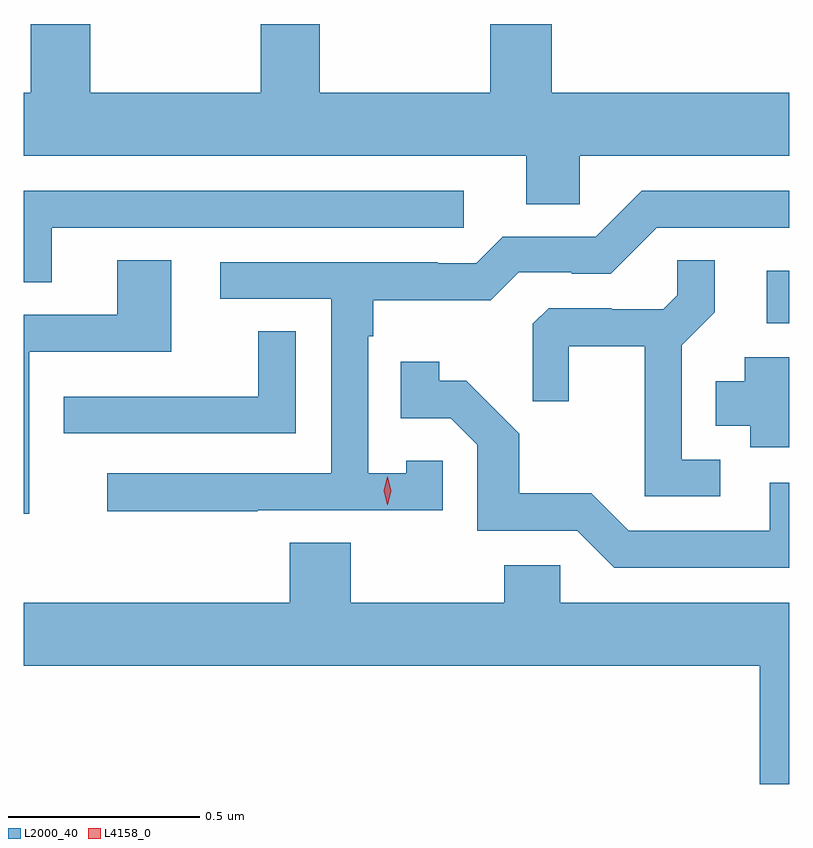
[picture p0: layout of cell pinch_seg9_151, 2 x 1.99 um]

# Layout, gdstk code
import gdstk
lib = gdstk.Library(unit=1e-6, precision=1e-09)
def R(c, l, rs):  # rectangles x0, y0, x1, y1
    for r in rs: c.add(gdstk.rectangle(r[:2], r[2:], *l))
def P(c, l, *ps):  # polygons
    for p in ps: c.add(gdstk.Polygon(p, *l))
L2000_40 = (2000, 40)
L4158_0 = (4158, 0)

pinch_seg9_151 = lib.new_cell('pinch_seg9_151')
R(pinch_seg9_151, L2000_40, [(679.533,1235.943,679.592,1236.079)])
P(pinch_seg9_151, L2000_40, [(679.044,1236.38),(679.592,1236.38),(679.592,1236.544),(678.971,1236.544),(678.971,1236.724),(678.811,1236.724),(678.811,1236.544),(678.366,1236.544),(678.366,1236.724),(678.211,1236.724),(678.211,1236.544),(677.766,1236.544),(677.766,1236.724),(677.611,1236.724),(677.611,1236.544),(677.592,1236.544),(677.592,1236.38),(678.905,1236.38),(678.905,1236.253),(679.044,1236.253)],
  [(677.665,1236.192),(678.742,1236.192),(678.742,1236.288),(677.592,1236.288),(677.592,1236.049),(677.665,1236.049)],
  [(678.203,1235.454),(678.687,1235.454),(678.687,1235.583),(678.591,1235.583),(678.591,1235.551),(678.492,1235.551),(678.492,1235.909),(678.505,1235.909),(678.505,1236.002),(678.812,1236.002),(678.885,1236.075),(679.024,1236.075),(679.024,1236.072),(679.125,1236.072),(679.245,1236.192),(679.592,1236.192),(679.592,1236.288),(679.206,1236.288),(679.086,1236.168),(678.843,1236.168),(678.774,1236.099),(678.674,1236.099),(678.674,1236.102),(678.105,1236.102),(678.105,1236.006),(678.396,1236.006),(678.396,1235.55),(677.811,1235.55),(677.811,1235.452),(678.203,1235.452)],
  [(677.607,1235.868),(677.977,1235.868),(677.977,1236.107),(677.837,1236.107),(677.837,1235.964),(677.592,1235.964),(677.592,1235.445),(677.607,1235.445)],
  [(679.411,1235.586),(679.311,1235.586),(679.311,1235.885),(679.397,1235.971),(679.397,1236.107),(679.299,1236.107),(679.299,1236.016),(679.262,1235.979),(679.128,1235.979),(679.128,1235.982),(678.963,1235.982),(678.922,1235.941),(678.922,1235.739),(679.016,1235.739),(679.016,1235.882),(679.214,1235.882),(679.214,1235.49),(679.411,1235.49)],
  [(678.303,1235.921),(678.205,1235.921),(678.205,1235.751),(677.809,1235.751),(677.809,1235.75),(677.697,1235.75),(677.697,1235.655),(678.303,1235.655)],
  [(679.592,1235.854),(679.475,1235.854),(679.475,1235.791),(679.4,1235.791),(679.4,1235.675),(679.49,1235.675),(679.49,1235.618),(679.592,1235.618)],
  [(679.592,1235.526),(679.541,1235.526),(679.541,1235.4),(679.173,1235.4),(679.075,1235.499),(678.886,1235.499),(678.886,1235.654),(678.748,1235.792),(678.678,1235.792),(678.678,1235.842),(678.577,1235.842),(678.577,1235.694),(678.708,1235.694),(678.777,1235.625),(678.777,1235.4),(679.038,1235.4),(679.134,1235.304),(679.592,1235.304)],
  [(679.592,1235.212),(678.993,1235.212),(678.993,1235.31),(678.847,1235.31),(678.847,1235.212),(678.447,1235.212),(678.447,1235.369),(678.287,1235.369),(678.287,1235.212),(677.592,1235.212),(677.592,1235.048),(679.514,1235.048),(679.514,1234.739),(679.592,1234.739)])
P(pinch_seg9_151, L4158_0, [(678.542,1235.469),(678.542,1235.469),(678.532,1235.505),(678.542,1235.541),(678.542,1235.542),(678.543,1235.541),(678.552,1235.505),(678.543,1235.469)])

lib.write_gds('pinch_seg9_151.gds')
